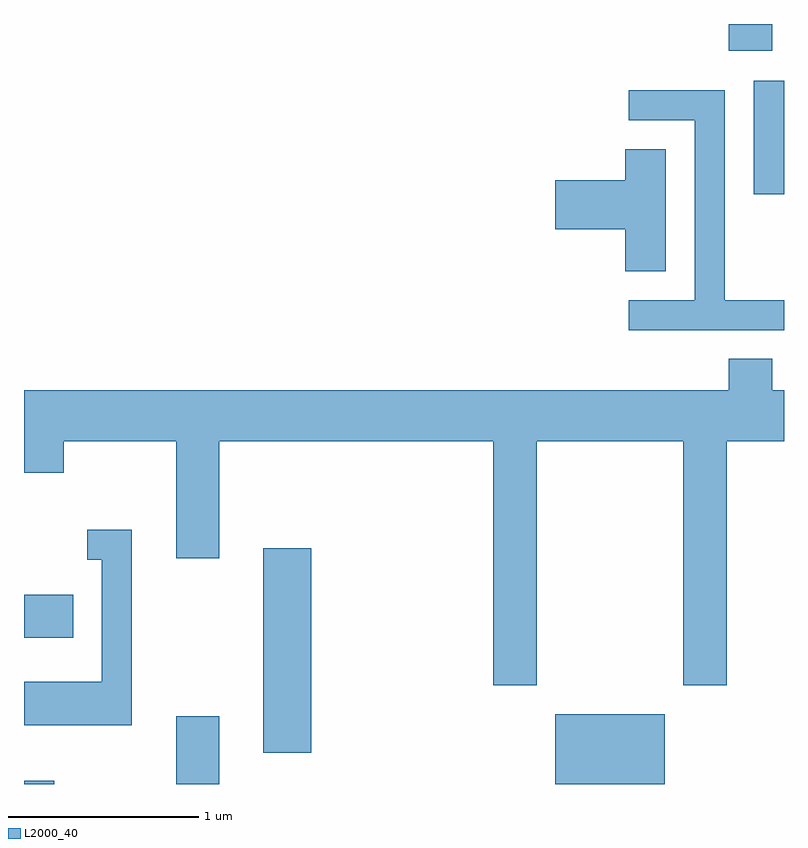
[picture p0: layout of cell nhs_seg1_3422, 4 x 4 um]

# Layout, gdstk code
import gdstk
lib = gdstk.Library(unit=1e-6, precision=1e-09)
def R(c, l, rs):  # rectangles x0, y0, x1, y1
    for r in rs: c.add(gdstk.rectangle(r[:2], r[2:], *l))
def P(c, l, *ps):  # polygons
    for p in ps: c.add(gdstk.Polygon(p, *l))
L2000_40 = (2000, 40)

nhs_seg1_3422 = lib.new_cell('nhs_seg1_3422')
R(nhs_seg1_3422, L2000_40, [(287.611,957.712,287.769,957.729), (288.411,957.712,288.639,958.069), (290.406,957.712,290.984,958.079), (288.871,957.876,289.124,958.954), (287.611,958.481,287.869,958.709), (291.451,960.816,291.611,961.414), (291.321,961.571,291.549,961.712)])
P(nhs_seg1_3422, L2000_40, [(291.611,960.259),(291.299,960.259),(291.299,961.364),(290.793,961.364),(290.793,961.206),(291.141,961.206),(291.141,960.259),(290.793,960.259),(290.793,960.101),(291.611,960.101)],
  [(290.989,961.054),(290.776,961.054),(290.776,960.889),(290.406,960.889),(290.406,960.631),(290.776,960.631),(290.776,960.411),(290.989,960.411)],
  [(290.309,959.516),(291.081,959.516),(291.081,958.231),(291.309,958.231),(291.309,959.516),(291.611,959.516),(291.611,959.784),(291.549,959.784),(291.549,959.949),(291.321,959.949),(291.321,959.784),(287.611,959.784),(287.611,959.351),(287.819,959.351),(287.819,959.516),(288.411,959.516),(288.411,958.901),(288.639,958.901),(288.639,959.516),(290.081,959.516),(290.081,958.231),(290.309,958.231)],
  [(288.179,959.049),(287.943,959.049),(287.943,958.891),(288.021,958.891),(288.021,958.249),(287.611,958.249),(287.611,958.021),(288.179,958.021)])

lib.write_gds('nhs_seg1_3422.gds')
